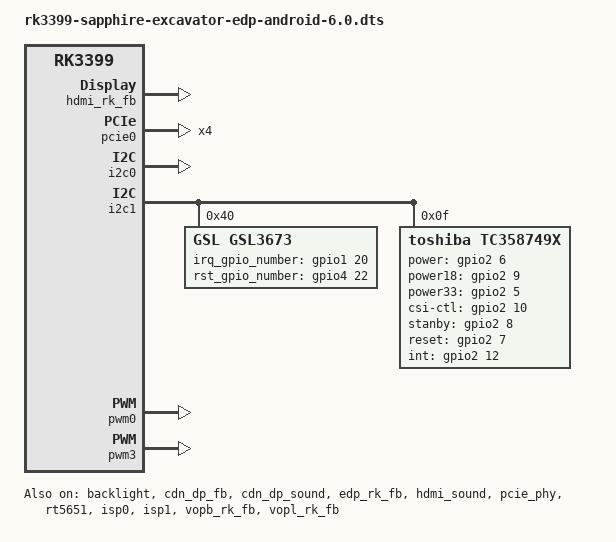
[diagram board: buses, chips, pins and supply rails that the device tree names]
/*
 * Copyright (c) 2016 Fuzhou Rockchip Electronics Co., Ltd
 *
 * This file is dual-licensed: you can use it either under the terms
 * of the GPL or the X11 license, at your option. Note that this dual
 * licensing only applies to this file, and not this project as a
 * whole.
 *
 *  a) This file is free software; you can redistribute it and/or
 *     modify it under the terms of the GNU General Public License as
 *     published by the Free Software Foundation; either version 2 of the
 *     License, or (at your option) any later version.
 *
 *     This file is distributed in the hope that it will be useful,
 *     but WITHOUT ANY WARRANTY; without even the implied warranty of
 *     MERCHANTABILITY or FITNESS FOR A PARTICULAR PURPOSE.  See the
 *     GNU General Public License for more details.
 *
 * Or, alternatively,
 *
 *  b) Permission is hereby granted, free of charge, to any person
 *     obtaining a copy of this software and associated documentation
 *     files (the "Software"), to deal in the Software without
 *     restriction, including without limitation the rights to use,
 *     copy, modify, merge, publish, distribute, sublicense, and/or
 *     sell copies of the Software, and to permit persons to whom the
 *     Software is furnished to do so, subject to the following
 *     conditions:
 *
 *     The above copyright notice and this permission notice shall be
 *     included in all copies or substantial portions of the Software.
 *
 *     THE SOFTWARE IS PROVIDED "AS IS", WITHOUT WARRANTY OF ANY KIND,
 *     EXPRESS OR IMPLIED, INCLUDING BUT NOT LIMITED TO THE WARRANTIES
 *     OF MERCHANTABILITY, FITNESS FOR A PARTICULAR PURPOSE AND
 *     NONINFRINGEMENT. IN NO EVENT SHALL THE AUTHORS OR COPYRIGHT
 *     HOLDERS BE LIABLE FOR ANY CLAIM, DAMAGES OR OTHER LIABILITY,
 *     WHETHER IN AN ACTION OF CONTRACT, TORT OR OTHERWISE, ARISING
 *     FROM, OUT OF OR IN CONNECTION WITH THE SOFTWARE OR THE USE OR
 *     OTHER DEALINGS IN THE SOFTWARE.
 */

/dts-v1/;

#include <dt-bindings/input/input.h>
#include "rk3399-excavator-sapphire.dtsi"
#include "rk3399-android-6.0.dtsi"

/ {
	compatible = "rockchip,rk3399-excavator-edp", "rockchip,rk3399";

	test-power {
		status = "okay";
	};

	rt5651-sound {
		status = "disabled";
	};

	hdmiin-sound {
		compatible = "rockchip,rockchip-rt5651-tc358749x-sound";
		rockchip,cpu = <&i2s0>;
		rockchip,codec = <&rt5651 &rt5651 &tc358749x>;
		status = "okay";
	};
};

&backlight {
	status = "okay";
};

&cdn_dp_fb {
	status = "okay";
	extcon = <&fusb0>;
	dp_vop_sel = <DISPLAY_SOURCE_LCDC1>;
};

&cdn_dp_sound {
	status = "okay";
};

&edp_rk_fb {
	status = "okay";
};

&hdmi_rk_fb {
	status = "okay";
	rockchip,hdmi_video_source = <DISPLAY_SOURCE_LCDC1>;
};

&hdmi_sound {
	status = "okay";
};

&pcie_phy {
	status = "okay";
};

&pcie0 {
	ep-gpios = <&gpio2 4 GPIO_ACTIVE_HIGH>;
	num-lanes = <4>;
	pinctrl-names = "default";
	pinctrl-0 = <&pcie_clkreqn>;
	status = "okay";
};

&rt5651 {
	status = "okay";
};

&i2c0 {
	status = "okay";
};

&i2c1 {
	status = "okay";

	gsl3673: gsl3673@40 {
		compatible = "GSL,GSL3673";
		reg = <0x40>;
		screen_max_x = <1536>;
		screen_max_y = <2048>;
		irq_gpio_number = <&gpio1 20 IRQ_TYPE_LEVEL_LOW>;
		rst_gpio_number = <&gpio4 22 GPIO_ACTIVE_HIGH>;
	};

	tc358749x: tc358749x@0f {
		compatible = "toshiba,tc358749x";
		reg = <0x0f>;
		power-gpios = <&gpio2 6 GPIO_ACTIVE_HIGH>;
		power18-gpios = <&gpio2 9 GPIO_ACTIVE_HIGH>;
		power33-gpios = <&gpio2 5 GPIO_ACTIVE_HIGH>;
		csi-ctl-gpios = <&gpio2 10 GPIO_ACTIVE_HIGH>;
		stanby-gpios = <&gpio2 8 GPIO_ACTIVE_HIGH>;
		reset-gpios = <&gpio2 7 GPIO_ACTIVE_HIGH>;
		int-gpios = <&gpio2 12 GPIO_ACTIVE_HIGH>;
		pinctrl-names = "default";
		pinctrl-0 = <&hdmiin_gpios>;
		status = "okay";
	};
};

&isp0 {
	status = "okay";
};

&isp1 {
	status = "okay";
};

&pwm0 {
	status = "okay";
};

&pwm3 {
	status = "okay";
	interrupts = <GIC_SPI 61 IRQ_TYPE_LEVEL_HIGH 0>;
	compatible = "rockchip,remotectl-pwm";
	remote_pwm_id = <3>;
	handle_cpu_id = <1>;

	ir_key1 {
		rockchip,usercode = <0x4040>;
		rockchip,key_table =
			<0xf2	KEY_REPLY>,
			<0xba	KEY_BACK>,
			<0xf4	KEY_UP>,
			<0xf1	KEY_DOWN>,
			<0xef	KEY_LEFT>,
			<0xee	KEY_RIGHT>,
			<0xbd	KEY_HOME>,
			<0xea	KEY_VOLUMEUP>,
			<0xe3	KEY_VOLUMEDOWN>,
			<0xe2	KEY_SEARCH>,
			<0xb2	KEY_POWER>,
			<0xbc	KEY_MUTE>,
			<0xec	KEY_MENU>,
			<0xbf	0x190>,
			<0xe0	0x191>,
			<0xe1	0x192>,
			<0xe9	183>,
			<0xe6	248>,
			<0xe8	185>,
			<0xe7	186>,
			<0xf0	388>,
			<0xbe	0x175>;
	};

	ir_key2 {
		rockchip,usercode = <0xff00>;
		rockchip,key_table =
			<0xf9	KEY_HOME>,
			<0xbf	KEY_BACK>,
			<0xfb	KEY_MENU>,
			<0xaa	KEY_REPLY>,
			<0xb9	KEY_UP>,
			<0xe9	KEY_DOWN>,
			<0xb8	KEY_LEFT>,
			<0xea	KEY_RIGHT>,
			<0xeb	KEY_VOLUMEDOWN>,
			<0xef	KEY_VOLUMEUP>,
			<0xf7	KEY_MUTE>,
			<0xe7	KEY_POWER>,
			<0xfc	KEY_POWER>,
			<0xa9	KEY_VOLUMEDOWN>,
			<0xa8	KEY_VOLUMEDOWN>,
			<0xe0	KEY_VOLUMEDOWN>,
			<0xa5	KEY_VOLUMEDOWN>,
			<0xab	183>,
			<0xb7	388>,
			<0xf8	184>,
			<0xaf	185>,
			<0xed	KEY_VOLUMEDOWN>,
			<0xee	186>,
			<0xb3	KEY_VOLUMEDOWN>,
			<0xf1	KEY_VOLUMEDOWN>,
			<0xf2	KEY_VOLUMEDOWN>,
			<0xf3	KEY_SEARCH>,
			<0xb4	KEY_VOLUMEDOWN>,
			<0xbe	KEY_SEARCH>;
	};

	ir_key3 {
		rockchip,usercode = <0x1dcc>;
		rockchip,key_table =
			<0xee	KEY_REPLY>,
			<0xf0	KEY_BACK>,
			<0xf8	KEY_UP>,
			<0xbb	KEY_DOWN>,
			<0xef	KEY_LEFT>,
			<0xed	KEY_RIGHT>,
			<0xfc	KEY_HOME>,
			<0xf1	KEY_VOLUMEUP>,
			<0xfd	KEY_VOLUMEDOWN>,
			<0xb7	KEY_SEARCH>,
			<0xff	KEY_POWER>,
			<0xf3	KEY_MUTE>,
			<0xbf	KEY_MENU>,
			<0xf9	0x191>,
			<0xf5	0x192>,
			<0xb3	388>,
			<0xbe	KEY_1>,
			<0xba	KEY_2>,
			<0xb2	KEY_3>,
			<0xbd	KEY_4>,
			<0xf9	KEY_5>,
			<0xb1	KEY_6>,
			<0xfc	KEY_7>,
			<0xf8	KEY_8>,
			<0xb0	KEY_9>,
			<0xb6	KEY_0>,
			<0xb5	KEY_BACKSPACE>;
	};
};

&pinctrl {
	status = "okay";

	hdmiin {
		hdmiin_gpios: hdmiin_gpios {
			rockchip,pins =
				<2 5 RK_FUNC_GPIO &pcfg_pull_none>,
				<2 6 RK_FUNC_GPIO &pcfg_pull_none>,
				<2 7 RK_FUNC_GPIO &pcfg_pull_none>,
				<2 8 RK_FUNC_GPIO &pcfg_pull_none>,
				<2 9 RK_FUNC_GPIO &pcfg_pull_none>,
				<2 12 RK_FUNC_GPIO &pcfg_pull_none>;
		};
	};
};

&rk_screen {
	#include <dt-bindings/display/screen-timing/lcd-F402.dtsi>
};

&vopb_rk_fb {
	status = "okay";
	power_ctr: power_ctr {
		rockchip,debug = <0>;
		lcd_en: lcd-en {
			rockchip,power_type = <GPIO>;
			gpios = <&gpio1 13 GPIO_ACTIVE_HIGH>;
			rockchip,delay = <10>;
		};

		/*
		lcd_cs: lcd-cs {
			rockchip,power_type = <GPIO>;
			gpios = <&gpio0 21 GPIO_ACTIVE_HIGH>;
			rockchip,delay = <10>;
		};
		*/

		lcd_rst: lcd-rst {
			rockchip,power_type = <GPIO>;
			gpios = <&gpio4 30 GPIO_ACTIVE_HIGH>;
			rockchip,delay = <5>;
		};
	};
};

&vopl_rk_fb {
	status = "okay";
};
